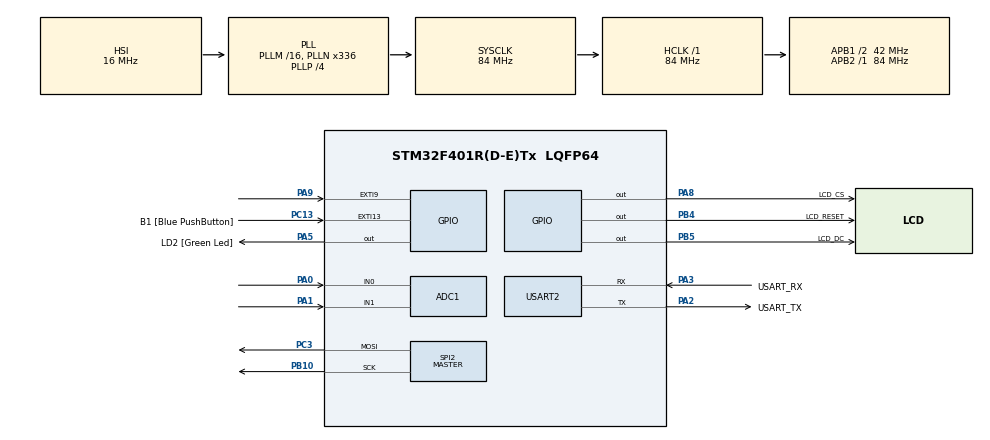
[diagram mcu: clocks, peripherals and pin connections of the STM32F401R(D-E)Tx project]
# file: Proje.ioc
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ADC1.Channel-2\#ChannelRegularConversion=ADC_CHANNEL_0
ADC1.Channel-3\#ChannelRegularConversion=ADC_CHANNEL_1
ADC1.ContinuousConvMode=ENABLE
ADC1.DMAContinuousRequests=ENABLE
ADC1.NbrOfConversion=2
ADC1.NbrOfConversionFlag=1
ADC1.Rank-2\#ChannelRegularConversion=1
ADC1.Rank-3\#ChannelRegularConversion=2
ADC1.SamplingTime-2\#ChannelRegularConversion=ADC_SAMPLETIME_144CYCLES
ADC1.SamplingTime-3\#ChannelRegularConversion=ADC_SAMPLETIME_144CYCLES
ADC1.ScanConvMode=ENABLE
ADC1.master=1
Dma.ADC1.0.Direction=DMA_PERIPH_TO_MEMORY
Dma.ADC1.0.FIFOMode=DMA_FIFOMODE_DISABLE
Dma.ADC1.0.Instance=DMA2_Stream0
Dma.ADC1.0.MemDataAlignment=DMA_MDATAALIGN_WORD
Dma.ADC1.0.MemInc=DMA_MINC_ENABLE
Dma.ADC1.0.Mode=DMA_CIRCULAR
Dma.ADC1.0.PeriphDataAlignment=DMA_PDATAALIGN_WORD
Dma.ADC1.0.PeriphInc=DMA_PINC_DISABLE
Dma.ADC1.0.Priority=DMA_PRIORITY_MEDIUM
Dma.Request0=ADC1
Mcu.Family=STM32F4
Mcu.Name=STM32F401R(D-E)Tx
Mcu.Package=LQFP64
NVIC.DMA2_Stream0_IRQn=true\:0\:0\:false\:false\:true\:false\:true
NVIC.EXTI15_10_IRQn=true\:0\:0\:false\:false\:true\:true\:true
NVIC.PriorityGroup=NVIC_PRIORITYGROUP_0
PA0-WKUP.Signal=ADCx_IN0
PA1.Signal=ADCx_IN1
PA13.GPIO_Label=TMS
PA13.Mode=Serial_Wire
PA13.Signal=SYS_JTMS-SWDIO
PA14.GPIO_Label=TCK
PA14.Mode=Serial_Wire
PA14.Signal=SYS_JTCK-SWCLK
PA2.GPIO_Label=USART_TX
PA2.GPIO_Mode=GPIO_MODE_AF_PP
PA2.GPIO_PuPd=GPIO_NOPULL
PA2.GPIO_Speed=GPIO_SPEED_FREQ_LOW
PA2.Mode=Asynchronous
PA2.Signal=USART2_TX
PA3.GPIO_Label=USART_RX
PA3.GPIO_Mode=GPIO_MODE_AF_PP
PA3.GPIO_PuPd=GPIO_NOPULL
PA3.GPIO_Speed=GPIO_SPEED_FREQ_LOW
PA3.Mode=Asynchronous
PA3.Signal=USART2_RX
PA5.GPIO_Label=LD2 [Green Led]
PA5.GPIO_Mode=GPIO_MODE_OUTPUT_PP
PA5.GPIO_PuPd=GPIO_NOPULL
PA5.GPIO_Speed=GPIO_SPEED_FREQ_LOW
PA5.Signal=GPIO_Output
PA8.GPIO_Label=LCD_CS
PA8.Signal=GPIO_Output
PA9.GPIO_PuPd=GPIO_PULLDOWN
PA9.Signal=GPXTI9
PB10.Mode=TX_Only_Simplex_Unidirect_Master
PB10.Signal=SPI2_SCK
PB3.GPIO_Label=SWO
PB3.Signal=SYS_JTDO-SWO
PB4.GPIO_Label=LCD_RESET
PB4.Signal=GPIO_Output
PB5.GPIO_Label=LCD_DC
PB5.Signal=GPIO_Output
PC13-ANTI_TAMP.GPIO_Label=B1 [Blue PushButton]
PC13-ANTI_TAMP.GPIO_ModeDefaultEXTI=GPIO_MODE_IT_FALLING
PC13-ANTI_TAMP.GPIO_PuPd=GPIO_NOPULL
PC13-ANTI_TAMP.Signal=GPXTI13
PC14-OSC32_IN.Mode=LSE-External-Oscillator
PC14-OSC32_IN.Signal=RCC_OSC32_IN
PC15-OSC32_OUT.Mode=LSE-External-Oscillator
PC15-OSC32_OUT.Signal=RCC_OSC32_OUT
PC3.Mode=TX_Only_Simplex_Unidirect_Master
PC3.Signal=SPI2_MOSI
PH0\ -\ OSC_IN.Mode=HSE-External-Clock-Source
PH0\ -\ OSC_IN.Signal=RCC_OSC_IN
PH1\ -\ OSC_OUT.Mode=HSE-External-Clock-Source
PH1\ -\ OSC_OUT.Signal=RCC_OSC_OUT
ProjectManager.HeapSize=0x200
ProjectManager.StackSize=0x400
ProjectManager.TargetToolchain=MDK-ARM V5.27
RCC.48MHZClocksFreq_Value=48000000
RCC.AHBFreq_Value=84000000
RCC.APB1CLKDivider=RCC_HCLK_DIV2
RCC.APB1Freq_Value=42000000
RCC.APB1TimFreq_Value=84000000
RCC.APB2Freq_Value=84000000
RCC.APB2TimFreq_Value=84000000
RCC.CortexFreq_Value=84000000
RCC.HCLKFreq_Value=84000000
RCC.HSE_VALUE=8000000
RCC.HSI_VALUE=16000000
RCC.PLLN=336
RCC.PLLP=RCC_PLLP_DIV4
RCC.PLLQ=7
RCC.SYSCLKFreq_VALUE=84000000
RCC.SYSCLKSource=RCC_SYSCLKSOURCE_PLLCLK
RCC.VCOOutputFreq_Value=336000000
SH.ADCx_IN0.0=ADC1_IN0,IN0
SH.ADCx_IN1.0=ADC1_IN1,IN1
SPI2.CLKPolarity=SPI_POLARITY_HIGH
SPI2.Direction=SPI_DIRECTION_2LINES
SPI2.Mode=SPI_MODE_MASTER
SPI2.VirtualType=VM_MASTER
USART2.VirtualMode=VM_ASYNC
board=NUCLEO-F401RE

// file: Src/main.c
/* USER CODE BEGIN Header */
/**
  ******************************************************************************
  * @file           : main.c
  * @brief          : Main program body
  ******************************************************************************
  * @attention
  *
  * <h2><center>&copy; Copyright (c) 2020 STMicroelectronics.
  * All rights reserved.</center></h2>
  *
  * This software component is licensed by ST under BSD 3-Clause license,
  * the "License"; You may not use this file except in compliance with the
  * License. You may obtain a copy of the License at:
  *                        opensource.org/licenses/BSD-3-Clause
  *
  ******************************************************************************
  */
/* USER CODE END Header */

#include "main.h"

/* USER CODE BEGIN Includes */
#include <stdio.h>
#include <string.h>
#include <math.h>
#include "stdarg.h"
#include "stdlib.h"

#include "clock.h"
#include "st7735.h"
#include "fonts.h"
#include "testimg.h"
/* USER CODE END Includes */

ADC_HandleTypeDef hadc1;
DMA_HandleTypeDef hdma_adc1;

SPI_HandleTypeDef hspi2;

UART_HandleTypeDef huart2;

void SystemClock_Config(void);
static void MX_GPIO_Init(void);
static void MX_DMA_Init(void);
static void MX_ADC1_Init(void);
static void MX_SPI2_Init(void);
static void MX_USART2_UART_Init(void);

/* USER CODE BEGIN 0 */
uint32_t time_us;
float temp=0;

#define Prgver		"1.5"

#define LED        	GPIOA, GPIO_PIN_5// board led
#define LED_high	HAL_GPIO_WritePin(LED, GPIO_PIN_SET);
#define LED_low		HAL_GPIO_WritePin(LED, GPIO_PIN_RESET);

#define TEMP_SENSOR_AVG_SLOPE_MV_PER_CELSIUS                        2.5f
#define TEMP_SENSOR_VOLTAGE_MV_AT_25                                760.0f
#define ADC_REFERENCE_VOLTAGE_MV                                    1210.0f
#define ADC_MAX_OUTPUT_VALUE                                        4095.0f

#define ADCMAXVALUE                                        4095.0f

uint8_t Hour=10;
uint8_t Sec=10;
uint8_t Min=22;
uint8_t Year=20;
uint8_t Month=4;
uint8_t Date=14;
uint8_t Weekday=0;
uint8_t	selection;
uint8_t select_zone;

char strtxt[50];

uint8_t strMonth[][12] = {"Ock", "Sub", "Mrt", "Nis", "May", "Haz", "Tem", "Aug", "Ely", "Ekm", "Ksm", "Arl"};
//uint8_t strMonth[][12] = {"Jan", "Feb", "Mar", "Apr", "May", "Jun", "Jul", "Aug", "Sep", "Oct", "Nov", "Dec"};
//uint8_t strWeekday[][7] = {"Mon", "Tue", "Wed", "Thu", "Fri", "Sat", "Sun"};
uint8_t strWeekday[][7] = {"Pzt", "Sal", "Car", "Per", "Cum", "Cmt", "Pzr"};

uint32_t adcResult=0;
float temperature;
float voltage;
int a = 0;
const uint16_t clockface_1_1[] = {0x0000, 0xFFFF, 0xFFFF};

uint32_t adc_buffer[15];
uint32_t d1 = 0,d2 = 0,d3 = 0,d4 = 0,t = 0;

void UART_Printf(const char* fmt, ...) {
    char buff[256];
    va_list args;
    va_start(args, fmt);
    vsnprintf(buff, sizeof(buff), fmt, args);
    HAL_UART_Transmit(&huart2, (uint8_t*)buff, strlen(buff), HAL_MAX_DELAY);
    va_end(args);
}

void HAL_ADC_ConvCpltCallback(ADC_HandleTypeDef* hadc)
{
	d1 += adc_buffer[0];
	d2 += adc_buffer[1];
	t++;
	if(t==5000)
	{
		d1 /= 5000;
		d2 /= 5000;
		UART_Printf("%d %d\r\n", d1, d2);
		sprintf(strtxt,"%4d", d1);
	  ST7735_WriteString(0, 0, strtxt, Font_11x18, ST7735_WHITE, ST7735_RED);
		sprintf(strtxt,"%4d", d2);
	  ST7735_WriteString(0, 18, strtxt, Font_11x18, ST7735_WHITE, ST7735_RED);
		sprintf(strtxt,"%.2fV", d1*3.3/4096);
	  ST7735_WriteString(50, 0, strtxt, Font_11x18, ST7735_WHITE, ST7735_RED);
		sprintf(strtxt,"%.2fV", d2*3.3/4096);
	  ST7735_WriteString(50, 18, strtxt, Font_11x18, ST7735_WHITE, ST7735_RED);
		t = 0;
	}
}
/* USER CODE END 0 */

int main(void)
{

  /* MCU Configuration--------------------------------------------------------*/

  /* Reset of all peripherals, Initializes the Flash interface and the Systick. */
  HAL_Init();

  /* Configure the system clock */
  SystemClock_Config();

  /* Initialize all configured peripherals */
  MX_GPIO_Init();
  MX_DMA_Init();
  MX_ADC1_Init();
  MX_SPI2_Init();
  MX_USART2_UART_Init();
  /* USER CODE BEGIN 2 */
	ST7735_Init();
	ST7735_FillScreen(ST7735_RED);
	UART_Printf("Ready\r\n");
	HAL_ADC_Start_DMA(&hadc1, adc_buffer, 2);
  /* USER CODE END 2 */

  /* Infinite loop */
  while (1)
  {

    /* USER CODE BEGIN 3 */

		HAL_Delay(100);
		HAL_GPIO_TogglePin(LD2_GPIO_Port, LD2_Pin);
  }
  /* USER CODE END 3 */
}

void SystemClock_Config(void)
{
  RCC_OscInitTypeDef RCC_OscInitStruct = {0};
  RCC_ClkInitTypeDef RCC_ClkInitStruct = {0};

  /** Configure the main internal regulator output voltage
  */
  __HAL_RCC_PWR_CLK_ENABLE();
  __HAL_PWR_VOLTAGESCALING_CONFIG(PWR_REGULATOR_VOLTAGE_SCALE2);
  /** Initializes the CPU, AHB and APB busses clocks
  */
  RCC_OscInitStruct.OscillatorType = RCC_OSCILLATORTYPE_HSI;
  RCC_OscInitStruct.HSIState = RCC_HSI_ON;
  RCC_OscInitStruct.HSICalibrationValue = RCC_HSICALIBRATION_DEFAULT;
  RCC_OscInitStruct.PLL.PLLState = RCC_PLL_ON;
  RCC_OscInitStruct.PLL.PLLSource = RCC_PLLSOURCE_HSI;
  RCC_OscInitStruct.PLL.PLLM = 16;
  RCC_OscInitStruct.PLL.PLLN = 336;
  RCC_OscInitStruct.PLL.PLLP = RCC_PLLP_DIV4;
  RCC_OscInitStruct.PLL.PLLQ = 7;
  if (HAL_RCC_OscConfig(&RCC_OscInitStruct) != HAL_OK)
  {
    Error_Handler();
  }
  /** Initializes the CPU, AHB and APB busses clocks
  */
  RCC_ClkInitStruct.ClockType = RCC_CLOCKTYPE_HCLK|RCC_CLOCKTYPE_SYSCLK
                              |RCC_CLOCKTYPE_PCLK1|RCC_CLOCKTYPE_PCLK2;
  RCC_ClkInitStruct.SYSCLKSource = RCC_SYSCLKSOURCE_PLLCLK;
  RCC_ClkInitStruct.AHBCLKDivider = RCC_SYSCLK_DIV1;
  RCC_ClkInitStruct.APB1CLKDivider = RCC_HCLK_DIV2;
  RCC_ClkInitStruct.APB2CLKDivider = RCC_HCLK_DIV1;

  if (HAL_RCC_ClockConfig(&RCC_ClkInitStruct, FLASH_LATENCY_2) != HAL_OK)
  {
    Error_Handler();
  }
}

static void MX_ADC1_Init(void)
{

  ADC_ChannelConfTypeDef sConfig = {0};

  /** Configure the global features of the ADC (Clock, Resolution, Data Alignment and number of conversion)
  */
  hadc1.Instance = ADC1;
  hadc1.Init.ClockPrescaler = ADC_CLOCK_SYNC_PCLK_DIV4;
  hadc1.Init.Resolution = ADC_RESOLUTION_12B;
  hadc1.Init.ScanConvMode = ENABLE;
  hadc1.Init.ContinuousConvMode = ENABLE;
  hadc1.Init.DiscontinuousConvMode = DISABLE;
  hadc1.Init.ExternalTrigConvEdge = ADC_EXTERNALTRIGCONVEDGE_NONE;
  hadc1.Init.ExternalTrigConv = ADC_SOFTWARE_START;
  hadc1.Init.DataAlign = ADC_DATAALIGN_RIGHT;
  hadc1.Init.NbrOfConversion = 2;
  hadc1.Init.DMAContinuousRequests = ENABLE;
  hadc1.Init.EOCSelection = ADC_EOC_SINGLE_CONV;
  if (HAL_ADC_Init(&hadc1) != HAL_OK)
  {
    Error_Handler();
  }
  /** Configure for the selected ADC regular channel its corresponding rank in the sequencer and its sample time.
  */
  sConfig.Channel = ADC_CHANNEL_0;
  sConfig.Rank = 1;
  sConfig.SamplingTime = ADC_SAMPLETIME_144CYCLES;
  if (HAL_ADC_ConfigChannel(&hadc1, &sConfig) != HAL_OK)
  {
    Error_Handler();
  }
  /** Configure for the selected ADC regular channel its corresponding rank in the sequencer and its sample time.
  */
  sConfig.Channel = ADC_CHANNEL_1;
  sConfig.Rank = 2;
  if (HAL_ADC_ConfigChannel(&hadc1, &sConfig) != HAL_OK)
  {
    Error_Handler();
  }

}

static void MX_SPI2_Init(void)
{

  /* SPI2 parameter configuration*/
  hspi2.Instance = SPI2;
  hspi2.Init.Mode = SPI_MODE_MASTER;
  hspi2.Init.Direction = SPI_DIRECTION_2LINES;
  hspi2.Init.DataSize = SPI_DATASIZE_8BIT;
  hspi2.Init.CLKPolarity = SPI_POLARITY_HIGH;
  hspi2.Init.CLKPhase = SPI_PHASE_1EDGE;
  hspi2.Init.NSS = SPI_NSS_SOFT;
  hspi2.Init.BaudRatePrescaler = SPI_BAUDRATEPRESCALER_2;
  hspi2.Init.FirstBit = SPI_FIRSTBIT_MSB;
  hspi2.Init.TIMode = SPI_TIMODE_DISABLE;
  hspi2.Init.CRCCalculation = SPI_CRCCALCULATION_DISABLE;
  hspi2.Init.CRCPolynomial = 10;
  if (HAL_SPI_Init(&hspi2) != HAL_OK)
  {
    Error_Handler();
  }

}

static void MX_USART2_UART_Init(void)
{

  huart2.Instance = USART2;
  huart2.Init.BaudRate = 115200;
  huart2.Init.WordLength = UART_WORDLENGTH_8B;
  huart2.Init.StopBits = UART_STOPBITS_1;
  huart2.Init.Parity = UART_PARITY_NONE;
  huart2.Init.Mode = UART_MODE_TX_RX;
  huart2.Init.HwFlowCtl = UART_HWCONTROL_NONE;
  huart2.Init.OverSampling = UART_OVERSAMPLING_16;
  if (HAL_UART_Init(&huart2) != HAL_OK)
  {
    Error_Handler();
  }

}

static void MX_DMA_Init(void)
{

  /* DMA controller clock enable */
  __HAL_RCC_DMA2_CLK_ENABLE();

  /* DMA interrupt init */
  /* DMA2_Stream0_IRQn interrupt configuration */
  HAL_NVIC_SetPriority(DMA2_Stream0_IRQn, 0, 0);
  HAL_NVIC_EnableIRQ(DMA2_Stream0_IRQn);

}

static void MX_GPIO_Init(void)
{
  GPIO_InitTypeDef GPIO_InitStruct = {0};

  /* GPIO Ports Clock Enable */
  __HAL_RCC_GPIOC_CLK_ENABLE();
  __HAL_RCC_GPIOH_CLK_ENABLE();
  __HAL_RCC_GPIOA_CLK_ENABLE();
  __HAL_RCC_GPIOB_CLK_ENABLE();

  /*Configure GPIO pin Output Level */
  HAL_GPIO_WritePin(GPIOA, LD2_Pin|LCD_CS_Pin, GPIO_PIN_RESET);

  /*Configure GPIO pin Output Level */
  HAL_GPIO_WritePin(GPIOB, LCD_RESET_Pin|LCD_DC_Pin, GPIO_PIN_RESET);

  /*Configure GPIO pin : B1_Pin */
  GPIO_InitStruct.Pin = B1_Pin;
  GPIO_InitStruct.Mode = GPIO_MODE_IT_FALLING;
  GPIO_InitStruct.Pull = GPIO_NOPULL;
  HAL_GPIO_Init(B1_GPIO_Port, &GPIO_InitStruct);

  /*Configure GPIO pins : LD2_Pin LCD_CS_Pin */
  GPIO_InitStruct.Pin = LD2_Pin|LCD_CS_Pin;
  GPIO_InitStruct.Mode = GPIO_MODE_OUTPUT_PP;
  GPIO_InitStruct.Pull = GPIO_NOPULL;
  GPIO_InitStruct.Speed = GPIO_SPEED_FREQ_LOW;
  HAL_GPIO_Init(GPIOA, &GPIO_InitStruct);

  /*Configure GPIO pin : PA9 */
  GPIO_InitStruct.Pin = GPIO_PIN_9;
  GPIO_InitStruct.Mode = GPIO_MODE_IT_RISING;
  GPIO_InitStruct.Pull = GPIO_PULLDOWN;
  HAL_GPIO_Init(GPIOA, &GPIO_InitStruct);

  /*Configure GPIO pins : LCD_RESET_Pin LCD_DC_Pin */
  GPIO_InitStruct.Pin = LCD_RESET_Pin|LCD_DC_Pin;
  GPIO_InitStruct.Mode = GPIO_MODE_OUTPUT_PP;
  GPIO_InitStruct.Pull = GPIO_NOPULL;
  GPIO_InitStruct.Speed = GPIO_SPEED_FREQ_LOW;
  HAL_GPIO_Init(GPIOB, &GPIO_InitStruct);

  /* EXTI interrupt init*/
  HAL_NVIC_SetPriority(EXTI15_10_IRQn, 0, 0);
  HAL_NVIC_EnableIRQ(EXTI15_10_IRQn);

}

void Error_Handler(void)
{
}

/************************ (C) COPYRIGHT STMicroelectronics *****END OF FILE****/
